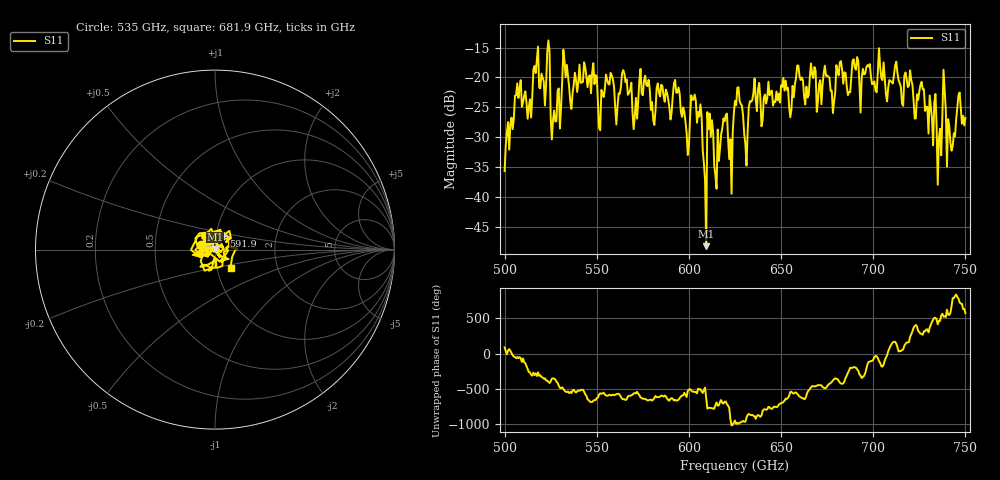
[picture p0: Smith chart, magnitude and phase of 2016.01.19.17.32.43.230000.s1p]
!Created with skrf (http://scikit-rf.org).
# GHz S RI R 50.0
!freq ReS11 ImS11
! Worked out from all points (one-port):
!   401 points, 500 GHz to 750 GHz, reference 50 ohm
!   lowest |S11| = -48.2 dB at 609.4 GHz (marker M1), VSWR 1.01, Z = 50 + j0.387 ohm
!   |S11| at or under -10 dB: start of sweep to end of sweep
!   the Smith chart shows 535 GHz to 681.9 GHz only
!   S11 on the Smith chart (normalised r, x): 535 GHz: 0.85, +0.05; 591.9 GHz: 1.09, +0.16; 681.9 GHz: 1.16, -0.24
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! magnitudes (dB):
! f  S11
! 500 GHz  -35.7
! 506.9 GHz  -21.0
! 516.9 GHz  -19.3
! 523.8 GHz  -13.8
! 526.2 GHz  -27.1
! 531.2 GHz  -20.6
! 535 GHz  -21.6
! 562.5 GHz  -22.7
! 591.9 GHz  -21.0
! 593.8 GHz  -22.5
! 599.4 GHz  -33.0
! 602.5 GHz  -23.7
! 609.4 GHz  -48.2
! 611.2 GHz  -26.0
! 615 GHz  -38.6
! 619.4 GHz  -27.3
! 622.5 GHz  -30.3
! 625 GHz  -23.9
! 630.6 GHz  -31.1
! 634.4 GHz  -23.8
! 656.2 GHz  -21.4
! 681.9 GHz  -17.5
! 687.5 GHz  -22.5
! 718.8 GHz  -21.6
! 735.6 GHz  -30.1
! 738.1 GHz  -18.7
! 741.2 GHz  -28.2
! 750 GHz  -26.8
